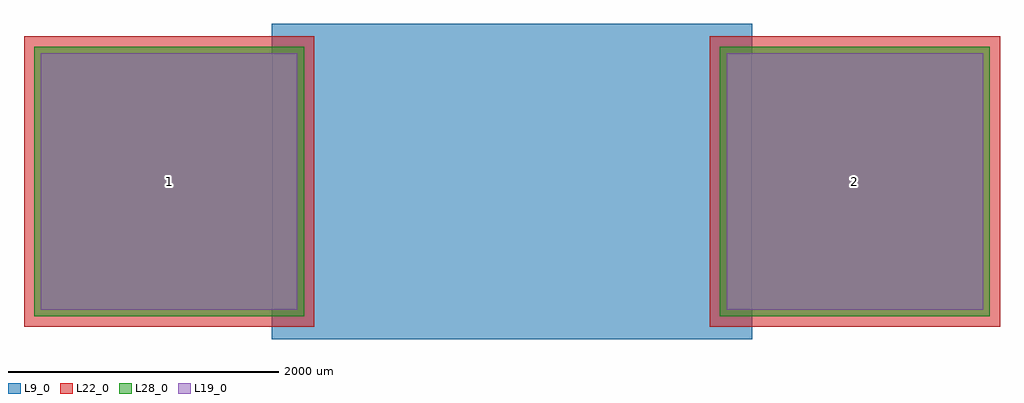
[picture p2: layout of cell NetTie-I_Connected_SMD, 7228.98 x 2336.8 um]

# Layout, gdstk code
import gdstk
lib = gdstk.Library(unit=1e-6, precision=1e-09)
def R(c, l, rs):  # rectangles x0, y0, x1, y1
    for r in rs: c.add(gdstk.rectangle(r[:2], r[2:], *l))
L9_0 = (9, 0)
L19_0 = (19, 0)
L22_0 = (22, 0)
L28_0 = (28, 0)

nettie_i_connected_smd = lib.new_cell('NetTie-I_Connected_SMD')
R(nettie_i_connected_smd, L19_0, [(-3489.49,-949.49,-1590.51,949.49), (1590.51,-949.49,3489.49,949.49)])
R(nettie_i_connected_smd, L22_0, [(-3614.49,-1074.49,-1465.51,1074.49), (1465.51,-1074.49,3614.49,1074.49)])
R(nettie_i_connected_smd, L28_0, [(-3539.49,-999.49,-1540.51,999.49), (1540.51,-999.49,3539.49,999.49)])
nettie_i_connected_smd.add(gdstk.FlexPath([(1778,-1016),(-1778,-1016)], 304.8, ends="flush", simple_path=True, layer=9, datatype=0))  # L9_0
nettie_i_connected_smd.add(gdstk.FlexPath([(-1778,-762),(1778,-762)], 304.8, ends="flush", simple_path=True, layer=9, datatype=0))  # L9_0
nettie_i_connected_smd.add(gdstk.FlexPath([(1778,-508),(-1778,-508)], 304.8, ends="flush", simple_path=True, layer=9, datatype=0))  # L9_0
nettie_i_connected_smd.add(gdstk.FlexPath([(-1778,-254),(1778,-254)], 304.8, ends="flush", simple_path=True, layer=9, datatype=0))  # L9_0
nettie_i_connected_smd.add(gdstk.FlexPath([(1778,0),(-1778,0)], 304.8, ends="flush", simple_path=True, layer=9, datatype=0))  # L9_0
nettie_i_connected_smd.add(gdstk.FlexPath([(-1778,254),(1778,254)], 304.8, ends="flush", simple_path=True, layer=9, datatype=0))  # L9_0
nettie_i_connected_smd.add(gdstk.FlexPath([(1778,508),(-1778,508)], 304.8, ends="flush", simple_path=True, layer=9, datatype=0))  # L9_0
nettie_i_connected_smd.add(gdstk.FlexPath([(-1778,762),(1778,762)], 304.8, ends="flush", simple_path=True, layer=9, datatype=0))  # L9_0
nettie_i_connected_smd.add(gdstk.FlexPath([(1778,1016),(-1778,1016)], 304.8, ends="flush", simple_path=True, layer=9, datatype=0))  # L9_0
nettie_i_connected_smd.add(gdstk.Label('2', (2540,0), layer=28, texttype=0))
nettie_i_connected_smd.add(gdstk.Label('1', (-2540,0), layer=28, texttype=0))
nettie_i_connected_smd.add(gdstk.Label('type', (0,3048), layer=9, texttype=0))
nettie_i_connected_smd.add(gdstk.Label('devicename', (-40.64,-4069.08), layer=9, texttype=0))

lib.write_gds('NetTie-I_Connected_SMD.gds')
